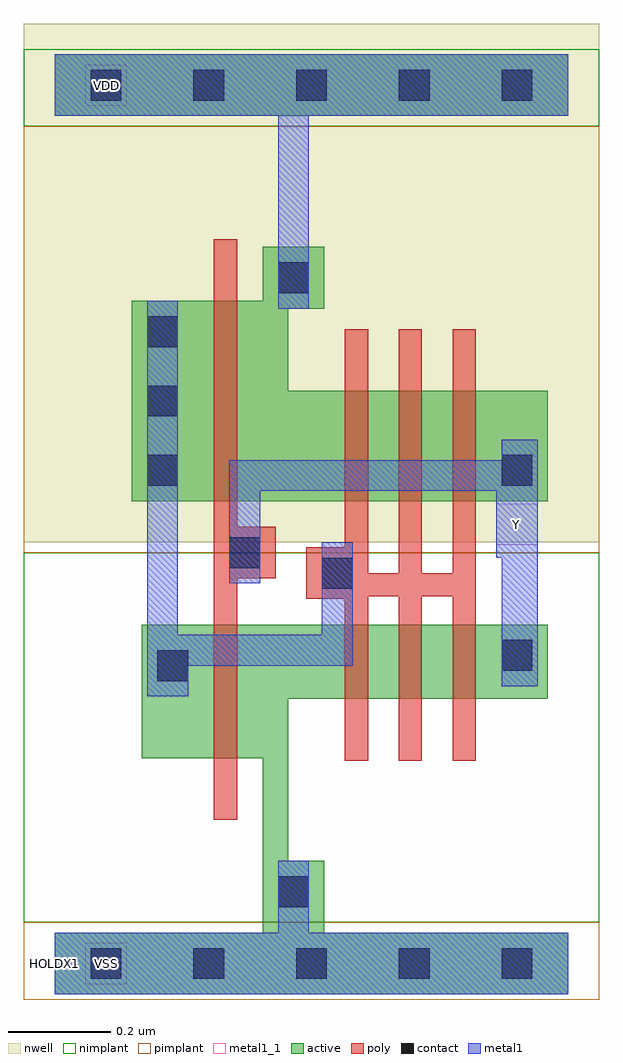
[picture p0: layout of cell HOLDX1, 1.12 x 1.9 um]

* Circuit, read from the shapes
.subckt HOLDX1 VDD VSS Y
M1 VSS Y n1 VSS nfet w=0.26u l=0.045u
M2 n2 n1 VSS VSS nfet w=0.145u l=0.045u
M3 n3 n1 n2 VSS nfet w=0.145u l=0.045u
M4 Y n1 n3 VSS nfet w=0.145u l=0.045u
M5 VDD Y n1 VDD pfet w=0.39u l=0.045u
M6 n4 n1 VDD VDD pfet w=0.215u l=0.045u
M7 n5 n1 n4 VDD pfet w=0.215u l=0.045u
M8 Y n1 n5 VDD pfet w=0.215u l=0.045u
.ends

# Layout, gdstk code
import gdstk
lib = gdstk.Library(unit=1e-6, precision=5e-10)
def R(c, l, rs):  # rectangles x0, y0, x1, y1
    for r in rs: c.add(gdstk.rectangle(r[:2], r[2:], *l))
def A(c, l, x, y, w, h, nx, ny, dx, dy):  # array of equal rectangles
    R(c, l, [(x+i*dx, y+j*dy, x+i*dx+w, y+j*dy+h) for i in range(nx) for j in range(ny)])
def P(c, l, *ps):  # polygons
    for p in ps: c.add(gdstk.Polygon(p, *l))
active = (1, 0)
nwell = (2, 0)
poly = (3, 0)
nimplant = (4, 0)
pimplant = (5, 0)
contact = (6, 0)
metal1 = (7, 0)
metal1_1 = (7, 1)

holdx1 = lib.new_cell('HOLDX1')
R(holdx1, active, [(0,1.65,1,1.77)])
P(holdx1, active, [(0.405,1.395),(0.525,1.395),(0.525,1.275),(0.455,1.275),(0.455,1.115),(0.96,1.115),(0.96,0.9),(0.15,0.9),(0.15,1.29),(0.405,1.29)],
  [(0.17,0.66),(0.96,0.66),(0.96,0.515),(0.455,0.515),(0.455,0.2),(0.525,0.2),(0.525,0.06),(1,0.06),(1,-0.06),(0,-0.06),(0,0.06),(0.405,0.06),(0.405,0.4),(0.17,0.4)])
R(holdx1, nwell, [(-0.06,0.82,1.06,1.83)])
P(holdx1, poly, [(0.31,1.41),(0.355,1.41),(0.355,0.85),(0.43,0.85),(0.43,0.75),(0.355,0.75),(0.355,0.28),(0.31,0.28)],
  [(0.565,1.235),(0.61,1.235),(0.61,0.76),(0.67,0.76),(0.67,1.235),(0.715,1.235),(0.715,0.76),(0.775,0.76),(0.775,1.235),(0.82,1.235),(0.82,0.395),(0.775,0.395),(0.775,0.715),(0.715,0.715),(0.715,0.395),(0.67,0.395),(0.67,0.715),(0.61,0.715),(0.61,0.395),(0.565,0.395),(0.565,0.71),(0.49,0.71),(0.49,0.81),(0.565,0.81)])
R(holdx1, nimplant, [(-0.06,0.08,1.06,0.8), (-0.06,1.63,1.06,1.78)])
R(holdx1, pimplant, [(-0.06,-0.07,1.06,0.08), (-0.06,0.8,1.06,1.63)])
A(holdx1, contact, 0.07, -0.03, 0.06, 0.06, 5, 2, 0.2, 1.71)
A(holdx1, contact, 0.18, 0.93, 0.06, 0.06, 1, 3, 0, 0.135)
R(holdx1, contact, [(0.435,0.11,0.495,0.17), (0.2,0.55,0.26,0.61), (0.87,0.57,0.93,0.63), (0.52,0.73,0.58,0.79), (0.34,0.77,0.4,0.83), (0.87,0.93,0.93,0.99), (0.435,1.305,0.495,1.365)])
P(holdx1, metal1, [(0,1.77),(1,1.77),(1,1.65),(0.495,1.65),(0.495,1.275),(0.435,1.275),(0.435,1.65),(0,1.65)],
  [(0.18,1.29),(0.24,1.29),(0.24,0.64),(0.52,0.64),(0.52,0.82),(0.58,0.82),(0.58,0.58),(0.26,0.58),(0.26,0.52),(0.18,0.52)],
  [(0.87,1.02),(0.94,1.02),(0.94,0.54),(0.87,0.54),(0.87,0.79),(0.86,0.79),(0.86,0.92),(0.4,0.92),(0.4,0.74),(0.34,0.74),(0.34,0.98),(0.87,0.98)],
  [(0.435,0.2),(0.495,0.2),(0.495,0.06),(1,0.06),(1,-0.06),(0,-0.06),(0,0.06),(0.435,0.06)])
R(holdx1, metal1_1, [(0.06,-0.04,0.14,0.04), (0.86,0.815,0.94,0.895), (0.06,1.67,0.14,1.75)])
holdx1.add(gdstk.Label('Y', (0.9,0.855), layer=7, texttype=1))
holdx1.add(gdstk.Label('VDD', (0.1,1.71), layer=7, texttype=1))
holdx1.add(gdstk.Label('VSS', (0.1,0), layer=7, texttype=1))
holdx1.add(gdstk.Label('HOLDX1', (0,0), layer=63, texttype=0))

lib.write_gds('HOLDX1.gds')
